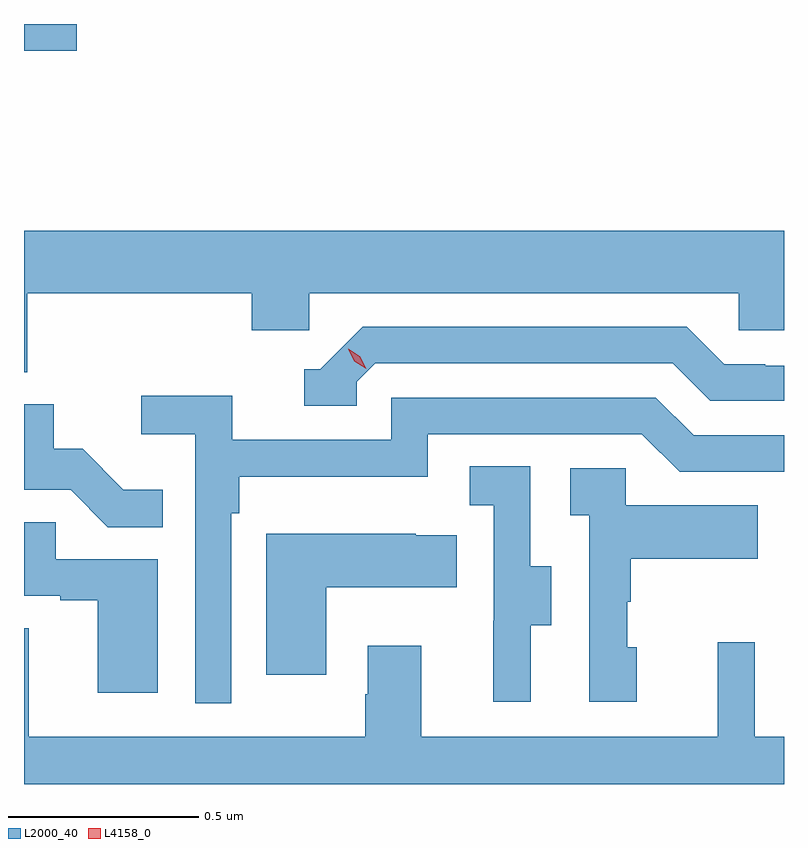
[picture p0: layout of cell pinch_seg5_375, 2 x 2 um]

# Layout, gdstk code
import gdstk
lib = gdstk.Library(unit=1e-6, precision=1e-09)
def R(c, l, rs):  # rectangles x0, y0, x1, y1
    for r in rs: c.add(gdstk.rectangle(r[:2], r[2:], *l))
def P(c, l, *ps):  # polygons
    for p in ps: c.add(gdstk.Polygon(p, *l))
L2000_40 = (2000, 40)
L4158_0 = (4158, 0)

pinch_seg5_375 = lib.new_cell('pinch_seg5_375')
R(pinch_seg5_375, L2000_40, [(1001.646,890.698,1001.785,890.768)])
P(pinch_seg5_375, L2000_40, [(1001.654,890.06),(1002.245,890.06),(1002.245,889.962),(1002.396,889.962),(1002.396,890.06),(1003.527,890.06),(1003.527,889.962),(1003.646,889.962),(1003.646,890.224),(1001.646,890.224),(1001.646,889.852),(1001.654,889.852)],
  [(1002.522,889.827),(1002.57,889.875),(1003.353,889.875),(1003.452,889.776),(1003.646,889.776),(1003.646,889.869),(1003.596,889.869),(1003.596,889.872),(1003.489,889.872),(1003.39,889.971),(1002.537,889.971),(1002.426,889.86),(1002.383,889.86),(1002.383,889.764),(1002.522,889.764)],
  [(1002.192,889.481),(1002.212,889.481),(1002.212,889.577),(1002.708,889.577),(1002.708,889.689),(1003.272,889.689),(1003.371,889.59),(1003.646,889.59),(1003.646,889.686),(1003.408,889.686),(1003.309,889.785),(1002.612,889.785),(1002.612,889.674),(1002.194,889.674),(1002.194,889.79),(1001.955,889.79),(1001.955,889.688),(1002.096,889.688),(1002.096,888.981),(1002.192,888.981)],
  [(1002.011,889.543),(1001.907,889.543),(1001.8,889.65),(1001.724,889.65),(1001.724,889.767),(1001.646,889.767),(1001.646,889.542),(1001.769,889.542),(1001.867,889.444),(1002.011,889.444)],
  [(1002.979,889.186),(1003.033,889.186),(1003.033,889.341),(1002.978,889.341),(1002.978,889.604),(1002.819,889.604),(1002.819,889.501),(1002.882,889.501),(1002.882,889.197),(1002.881,889.197),(1002.881,888.984),(1002.979,888.984)],
  [(1003.258,889.128),(1003.233,889.128),(1003.233,889.247),(1003.243,889.247),(1003.243,889.361),(1003.577,889.361),(1003.577,889.501),(1003.23,889.501),(1003.23,889.599),(1003.083,889.599),(1003.083,889.475),(1003.134,889.475),(1003.134,888.984),(1003.258,888.984)],
  [(1001.998,889.359),(1001.729,889.359),(1001.729,889.457),(1001.646,889.457),(1001.646,889.263),(1001.741,889.263),(1001.741,889.251),(1001.84,889.251),(1001.84,889.008),(1001.998,889.008)],
  [(1002.442,889.286),(1002.785,889.286),(1002.785,889.423),(1002.677,889.423),(1002.677,889.426),(1002.284,889.426),(1002.284,889.056),(1002.442,889.056)],
  [(1003.646,888.892),(1003.569,888.892),(1003.569,889.141),(1003.472,889.141),(1003.472,888.892),(1002.691,888.892),(1002.691,889.132),(1002.551,889.132),(1002.551,889.004),(1002.544,889.004),(1002.544,888.892),(1001.659,888.892),(1001.659,889.178),(1001.646,889.178),(1001.646,888.768),(1003.646,888.768)])
P(pinch_seg5_375, L4158_0, [(1002.546,889.861),(1002.515,889.88),(1002.499,889.913),(1002.499,889.913),(1002.499,889.913),(1002.53,889.894),(1002.546,889.861),(1002.546,889.861)])

lib.write_gds('pinch_seg5_375.gds')
